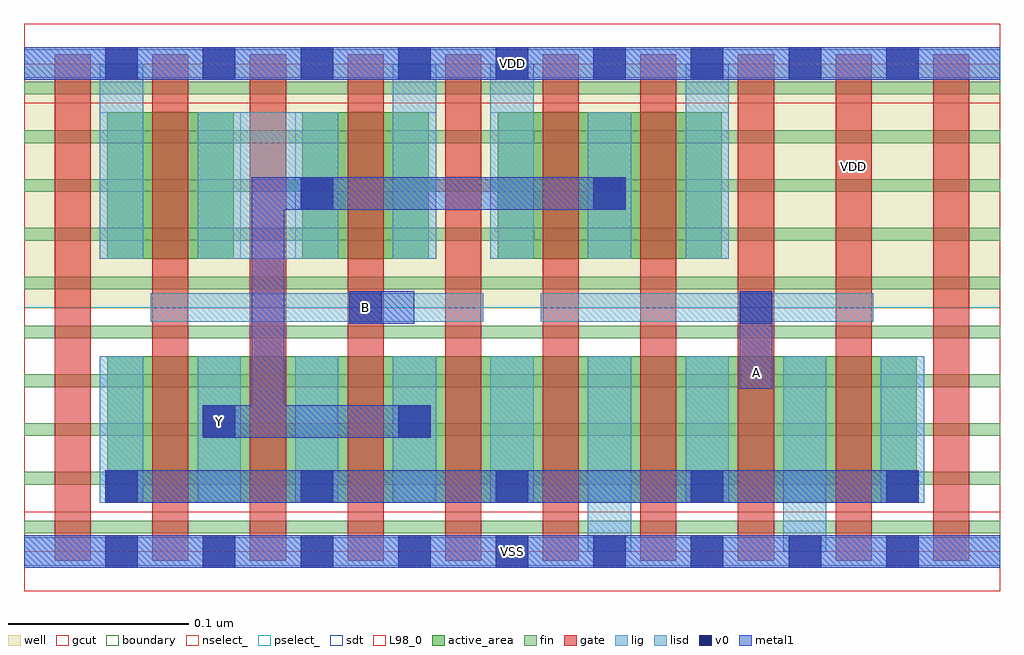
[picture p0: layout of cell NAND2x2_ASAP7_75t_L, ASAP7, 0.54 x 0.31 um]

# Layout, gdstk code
import gdstk
lib = gdstk.Library(unit=1e-6, precision=2.5e-10)
def R(c, l, rs):  # rectangles x0, y0, x1, y1
    for r in rs: c.add(gdstk.rectangle(r[:2], r[2:], *l))
def A(c, l, x, y, w, h, nx, ny, dx, dy):  # array of equal rectangles
    R(c, l, [(x+i*dx, y+j*dy, x+i*dx+w, y+j*dy+h) for i in range(nx) for j in range(ny)])
def P(c, l, *ps):  # polygons
    for p in ps: c.add(gdstk.Polygon(p, *l))
well = (1, 0)
fin = (2, 0)
gate = (7, 0)
gcut = (10, 0)
active_area = (11, 0)
nselect_ = (12, 0)
pselect_ = (13, 0)
lig = (16, 0)
lisd = (17, 0)
v0 = (18, 0)
metal1 = (19, 0)
sdt = (88, 0)
L98_0 = (98, 0)
boundary = (100, 0)

nand2x2_asap7_75t_l = lib.new_cell('NAND2x2_ASAP7_75t_L')
R(nand2x2_asap7_75t_l, well, [(0,0.135,0.54,0.27)])
A(nand2x2_asap7_75t_l, fin, 0, 0.01, 0.54, 0.007, 1, 10, 0, 0.027)
A(nand2x2_asap7_75t_l, gate, 0.017, -0.005, 0.02, 0.28, 10, 1, 0.054, 0)
R(nand2x2_asap7_75t_l, gcut, [(0,-0.022,0.54,0.022), (0,0.248,0.54,0.292)])
R(nand2x2_asap7_75t_l, active_area, [(0.046,0.027,0.494,0.108), (0.046,0.162,0.116,0.243), (0.154,0.162,0.224,0.243), (0.262,0.162,0.386,0.243)])
R(nand2x2_asap7_75t_l, nselect_, [(0,0,0.54,0.135)])
R(nand2x2_asap7_75t_l, pselect_, [(0,0.135,0.54,0.27)])
R(nand2x2_asap7_75t_l, lig, [(0,-0.008,0.54,0.008), (0.07,0.127,0.254,0.143), (0.286,0.127,0.47,0.143), (0,0.262,0.54,0.278)])
A(nand2x2_asap7_75t_l, lisd, 0.042, 0.027, 0.024, 0.081, 5, 1, 0.054, 0)
R(nand2x2_asap7_75t_l, lisd, [(0.312,0,0.336,0.108), (0.42,0,0.444,0.108), (0.366,0.027,0.39,0.108), (0.474,0.027,0.498,0.108), (0.042,0.162,0.066,0.27), (0.096,0.162,0.174,0.243), (0.204,0.162,0.228,0.27), (0.258,0.162,0.282,0.27), (0.312,0.162,0.336,0.243), (0.366,0.162,0.39,0.27)])
A(nand2x2_asap7_75t_l, v0, 0.045, -0.009, 0.018, 0.018, 9, 2, 0.054, 0.27)
A(nand2x2_asap7_75t_l, v0, 0.045, 0.027, 0.018, 0.018, 5, 1, 0.108, 0)
R(nand2x2_asap7_75t_l, v0, [(0.099,0.063,0.117,0.081), (0.207,0.063,0.225,0.081), (0.18,0.126,0.198,0.144), (0.396,0.126,0.414,0.144), (0.153,0.189,0.171,0.207), (0.315,0.189,0.333,0.207)])
R(nand2x2_asap7_75t_l, metal1, [(0,-0.009,0.54,0.009), (0.045,0.027,0.495,0.045), (0.396,0.09,0.414,0.144), (0.18,0.126,0.216,0.144), (0,0.261,0.54,0.279)])
P(nand2x2_asap7_75t_l, metal1, [(0.225,0.081),(0.144,0.081),(0.144,0.189),(0.333,0.189),(0.333,0.207),(0.126,0.207),(0.126,0.081),(0.099,0.081),(0.099,0.063),(0.225,0.063)])
A(nand2x2_asap7_75t_l, sdt, 0.042, 0.027, 0.024, 0.081, 9, 1, 0.054, 0)
A(nand2x2_asap7_75t_l, sdt, 0.042, 0.162, 0.024, 0.081, 7, 1, 0.054, 0)
R(nand2x2_asap7_75t_l, L98_0, [(0,0,0.54,0.27)])
R(nand2x2_asap7_75t_l, boundary, [(0,0,0.54,0.27)])
nand2x2_asap7_75t_l.add(gdstk.Label('Y', (0.108,0.072), layer=19, texttype=251))
nand2x2_asap7_75t_l.add(gdstk.Label('A', (0.405,0.099), layer=19, texttype=251))
nand2x2_asap7_75t_l.add(gdstk.Label('B', (0.189,0.135), layer=19, texttype=251))
nand2x2_asap7_75t_l.add(gdstk.Label('VSS', (0.27,0), layer=19, texttype=251))
nand2x2_asap7_75t_l.add(gdstk.Label('VDD', (0.27,0.27), layer=19, texttype=251))
nand2x2_asap7_75t_l.add(gdstk.Label('VDD', (0.459,0.213), layer=1, texttype=251))
nand2x2_asap7_75t_l.add(gdstk.Label('VSS', (0.621,0.213), layer=3, texttype=251))

lib.write_gds('NAND2x2_ASAP7_75t_L.gds')
